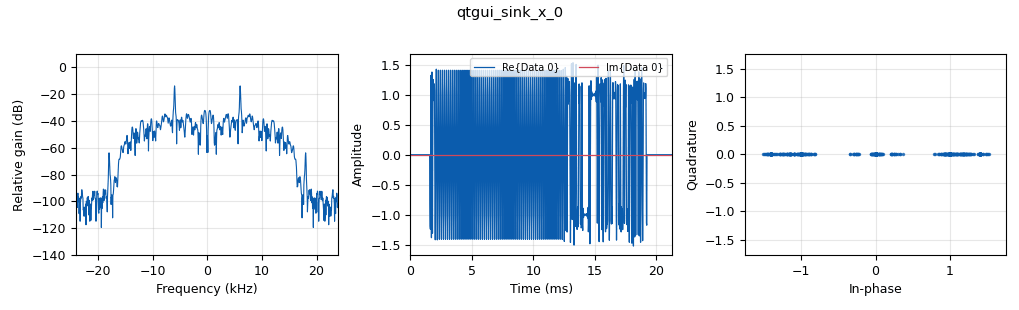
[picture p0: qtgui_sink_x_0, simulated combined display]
options:
  parameters:
    generate_options: qt_gui
    id: pkt_tx_rx
    output_language: python
    title: Not titled yet
  states: {}

blocks:
- name: bpsk
  id: variable_constellation
  parameters:
    precision: '8'
    type: bpsk
  states: {}
- name: bpsk_0
  id: variable_constellation
  parameters:
    precision: '8'
    type: bpsk
  states: {}
- name: excess_bw
  id: variable
  parameters:
    value: '0.35'
  states: {}
- name: excess_bw_0
  id: variable
  parameters:
    value: '0.35'
  states: {}
- name: order
  id: variable
  parameters:
    value: '2'
  states: {}
- name: phase_bw
  id: variable
  parameters:
    value: '0.0628'
  states: {}
- name: rs_ratio
  id: variable
  parameters:
    value: '1.040'
  states: {}
- name: rs_ratio_0
  id: variable
  parameters:
    value: '1.0'
  states: {}
- name: samp_rate
  id: variable
  parameters:
    value: '48000'
  states: {}
- name: sps
  id: variable
  parameters:
    value: '2'
  states: {}
- name: sps_0
  id: variable
  parameters:
    value: '2'
  states: {}
- name: thresh
  id: variable
  parameters:
    value: '1'
  states: {}
- name: usrp_rate
  id: variable
  parameters:
    value: '768000'
  states: {}
- name: usrp_rate_0
  id: variable
  parameters:
    value: '768000'
  states: {}
- name: variable_adaptive_algorithm_0
  id: variable_adaptive_algorithm
  parameters:
    cons: bpsk
    modulus: sps
    step_size: '.0001'
    type: cma
  states: {}
- name: blocks_file_sink_0
  id: blocks_file_sink
  parameters:
    file: pkt
    type: complex
  states: {}
- name: blocks_message_debug_1
  id: blocks_message_debug
  parameters: {}
  states: {}
- name: blocks_message_strobe_0
  id: blocks_message_strobe
  parameters:
    msg: pmt.cons(pmt.PMT_NIL,pmt.init_u8vector(9,(71,78,85,32,82,97,100,105,111)))
    period: '500'
  states: {}
- name: blocks_null_source_0
  id: blocks_null_source
  parameters:
    type: complex
  states: {}
- name: blocks_repack_bits_bb_1
  id: blocks_repack_bits_bb
  parameters:
    endianness: gr.GR_MSB_FIRST
    k: '1'
    l: '8'
    len_tag_key: '"packet_len"'
  states: {}
- name: blocks_stream_mux_0
  id: blocks_stream_mux
  parameters:
    lengths: (100,53*16)
    type: complex
  states: {}
- name: blocks_tag_debug_0
  id: blocks_tag_debug
  parameters:
    type: complex
  states: {}
- name: blocks_tagged_stream_align_0
  id: blocks_tagged_stream_align
  parameters:
    lengthtagname: packet_len
    type: complex
  states: {}
- name: digital_constellation_decoder_cb_0
  id: digital_constellation_decoder_cb
  parameters:
    constellation: bpsk
  states: {}
- name: digital_constellation_modulator_0
  id: digital_constellation_modulator
  parameters:
    constellation: bpsk
    differential: 'True'
    excess_bw: excess_bw
    samples_per_symbol: sps
  states: {}
- name: digital_correlate_access_code_xx_ts_0
  id: digital_correlate_access_code_xx_ts
  parameters:
    access_code: '"11100001010110101110100010010011"'
    tagname: packet_len
    threshold: thresh
    type: byte
  states: {}
- name: digital_costas_loop_cc_0
  id: digital_costas_loop_cc
  parameters:
    order: order
    w: phase_bw
  states: {}
- name: digital_crc32_async_bb_0
  id: digital_crc32_async_bb
  parameters:
    check: 'True'
  states: {}
- name: digital_crc32_async_bb_1
  id: digital_crc32_async_bb
  parameters:
    check: 'False'
  states: {}
- name: digital_diff_decoder_bb_0
  id: digital_diff_decoder_bb
  parameters:
    coding: digital.DIFF_DIFFERENTIAL
    modulus: '2'
  states: {}
- name: digital_linear_equalizer_0
  id: digital_linear_equalizer
  parameters:
    alg: variable_adaptive_algorithm_0
    num_taps: '15'
    sps: '1'
  states: {state: disabled}
- name: digital_map_bb_0
  id: digital_map_bb
  parameters:
    map: '[0,1]'
  states: {}
- name: digital_symbol_sync_xx_0
  id: digital_symbol_sync_xx
  parameters:
    damping: '1.0'
    loop_bw: phase_bw
    max_dev: '1.5'
    osps: '1'
    resamp_type: digital.IR_MMSE_8TAP
    sps: sps
    ted_gain: '1.0'
    ted_type: digital.TED_MUELLER_AND_MULLER
    type: cc
  states: {}
- name: epy_block_0
  id: epy_block
  parameters:
    _source_code: |
      """
      Embedded Python Block
      """

      import numpy as np
      from gnuradio import gr
      import pmt

      class blk(gr.sync_block):
          """Packet Format"""

          def __init__(self):
              gr.sync_block.__init__(self,
                  name = "Packet Format",
                  in_sig = None,
                  out_sig = None)
              self.message_port_register_in(pmt.intern('PDU_in'))
              self.message_port_register_out(pmt.intern('PDU_out'))
              self.set_msg_handler(pmt.intern('PDU_in'), self.handle_msg)

          def handle_msg(self, msg):
              inMsg = pmt.to_python (msg)
              pld = inMsg[1]
              # print (pld)
              mLen = len(pld)
              # print (mLen)
              if (mLen > 0):
                  char_list = [85,85,85,85,85,85,85,85,85,85,85,85,85,85,85,85,85,85,85,85,85,85,85,85,85,85,85,85,85,85,85,85,225,90,232,147]
                  char_list.append (mLen >> 8)
                  char_list.append (mLen & 255)
                  char_list.append (mLen >> 8)
                  char_list.append (mLen & 255)
                  char_list.extend (pld)
                  # print (char_list)
                  out_len = len(char_list)
                  # print (out_len)
                  self.message_port_pub(pmt.intern('PDU_out'), pmt.cons(pmt.PMT_NIL,pmt.init_u8vector(out_len,(char_list))))
  states: {}
- name: epy_block_1
  id: epy_block
  parameters:
    _source_code: |-
      import numpy as np
      from gnuradio import gr
      import pmt

      class my_basic_adder_block(gr.basic_block):
          def __init__(self,tag_name = 'packet_len'):
              gr.basic_block.__init__(self,
                                      name="Tagged Stream Cropper",
                                      in_sig  = [np.complex64],
                                      out_sig = [np.complex64])

              self.previous_tag_n_remainder = 0
              self.tag_name                 = tag_name
              self.set_tag_propagation_policy(gr.TPP_DONT)


          def general_work(self, input_items, output_items):
              len_out = len(output_items[0])

              # DO PROCESSING
              out_produced = 0 # output produced 

              #-> Write the remaining data of the previous tag
              if self.previous_tag_n_remainder > 0: 
                  if self.previous_tag_n_remainder < len_out: # if the length of the input items is sufficient to write the remainder of the previous tag items 
                      output_items[0][:self.previous_tag_n_remainder] = input_items[0][:self.previous_tag_n_remainder] #write to output 
                      out_produced                                   += self.previous_tag_n_remainder                  #inccrease the number of item produced
                      self.previous_tag_n_remainder = 0                                                                #reset the counter 
                      # the RETURN is at the end of the work()

                  else: # self.previous_tag_n_remainder >= len_out
                      output_items[0][:len_out]      = input_items[0][:len_out]
                      self.previous_tag_n_remainder -= len_out
                      self.consume(0, len_out)
                      return len_out

              # READ TAGS AND PARSE THE RECEIVED STREAM
              tags = self.get_tags_in_window(0, out_produced, len_out)

              #if there exist tag
              if len(tags) > 0:
                  #for each tag apply
                  for tag in tags:
                      tag_name   = pmt.to_python(tag.key)            # packet_tag
                      tag_len    = pmt.to_python(tag.value)          # packet_len
                      tag_pos    = tag.offset - self.nitems_read(0)  # packet_position_index
                      if tag_name == self.tag_name:       #check if the tag name is appropriate
                          if tag_pos + tag_len < len_out: # if all the elements correspding to the "tag" are included in the input_items

                              # write the elements to the output
                              output_items[0][out_produced:(out_produced+tag_len)] = input_items[0][tag_pos:(tag_pos+tag_len)]

                              # add tag to the corresponding start point                     
                              self.add_item_tag(0,                                   # Write to output port 0
                                               self.nitems_written(0)+out_produced,  # Index of the tag in absolute terms
                                               tag.key,                              # Key of the tag
                                               tag.value                             # Value of the tag
                                               )
                              #increase the number of output element produced counter
                              out_produced += tag_len

                          else: #tag_pos+tag_len >= len_out:
                              n_item_to_wrt = len_out - tag_pos
                              output_items[0][out_produced:(out_produced + n_item_to_wrt)] = input_items[0][tag_pos:(tag_pos+n_item_to_wrt)]

                              self.add_item_tag(0,                                     # Write to output port 0
                                                self.nitems_written(0)+out_produced,   # Index of the tag in absolute terms
                                                tag.key,                               # Key of the tag
                                                tag.value                              # Value of the tag
                                                )

                              self.previous_tag_n_remainder = tag_len - n_item_to_wrt
                              out_produced                 += n_item_to_wrt
                              self.consume(0,len_out)
                              return out_produced

              #if there is no tag exits
              self.consume(0,len_out)

              #recall that the first "if" state is producing element!
              return out_produced
    tag_name: '"packet_len"'
  states: {}
- name: note_0
  id: note
  parameters:
    comment: |-
      The CMA equalizer has been
      replaced by a Linear Equalizer
      and an Adaptive Algorithm for
      version 3.9
    note: CMA equalizer replaced
  states: {}
- name: pdu_pdu_to_tagged_stream_0
  id: pdu_pdu_to_tagged_stream
  parameters:
    tag: packet_len
    type: byte
  states: {}
- name: pdu_tagged_stream_to_pdu_0
  id: pdu_tagged_stream_to_pdu
  parameters:
    tag: packet_len
    type: byte
  states: {}
- name: qtgui_sink_x_0
  id: qtgui_sink_x
  parameters:
    bw: samp_rate
    fc: '0'
    fftsize: '1024'
    type: complex
  states: {}
- name: virtual_sink_0
  id: virtual_sink
  parameters:
    stream_id: tx1
  states: {}
- name: virtual_sink_0_0
  id: virtual_sink
  parameters:
    stream_id: rx1
  states: {}
- name: virtual_sink_1
  id: virtual_sink
  parameters:
    stream_id: rx2
  states: {}
- name: virtual_source_0
  id: virtual_source
  parameters:
    stream_id: tx1
  states: {}
- name: virtual_source_0_0
  id: virtual_source
  parameters:
    stream_id: rx1
  states: {}
- name: virtual_source_1
  id: virtual_source
  parameters:
    stream_id: rx2
  states: {}

connections:
- [blocks_message_strobe_0, strobe, digital_crc32_async_bb_1, in]
- [blocks_null_source_0, '0', blocks_stream_mux_0, '0']
- [blocks_repack_bits_bb_1, '0', pdu_tagged_stream_to_pdu_0, '0']
- [blocks_stream_mux_0, '0', virtual_sink_0, '0']
- [blocks_tagged_stream_align_0, '0', epy_block_1, '0']
- [digital_constellation_decoder_cb_0, '0', virtual_sink_1, '0']
- [digital_constellation_modulator_0, '0', blocks_stream_mux_0, '1']
- [digital_correlate_access_code_xx_ts_0, '0', blocks_repack_bits_bb_1, '0']
- [digital_costas_loop_cc_0, '0', blocks_tag_debug_0, '0']
- [digital_costas_loop_cc_0, '0', blocks_tagged_stream_align_0, '0']
- [digital_costas_loop_cc_0, '0', digital_constellation_decoder_cb_0, '0']
- [digital_crc32_async_bb_0, out, blocks_message_debug_1, print]
- [digital_crc32_async_bb_1, out, epy_block_0, PDU_in]
- [digital_diff_decoder_bb_0, '0', digital_map_bb_0, '0']
- [digital_linear_equalizer_0, '0', digital_costas_loop_cc_0, '0']
- [digital_map_bb_0, '0', digital_correlate_access_code_xx_ts_0, '0']
- [digital_symbol_sync_xx_0, '0', digital_costas_loop_cc_0, '0']
- [digital_symbol_sync_xx_0, '0', digital_linear_equalizer_0, '0']
- [epy_block_0, PDU_out, pdu_pdu_to_tagged_stream_0, pdus]
- [epy_block_1, '0', blocks_file_sink_0, '0']
- [pdu_pdu_to_tagged_stream_0, '0', digital_constellation_modulator_0, '0']
- [pdu_tagged_stream_to_pdu_0, pdus, digital_crc32_async_bb_0, in]
- [virtual_source_0, '0', qtgui_sink_x_0, '0']
- [virtual_source_0, '0', virtual_sink_0_0, '0']
- [virtual_source_0_0, '0', digital_symbol_sync_xx_0, '0']
- [virtual_source_1, '0', digital_diff_decoder_bb_0, '0']

metadata:
  file_format: 1
  grc_version: 3.10.2.0
